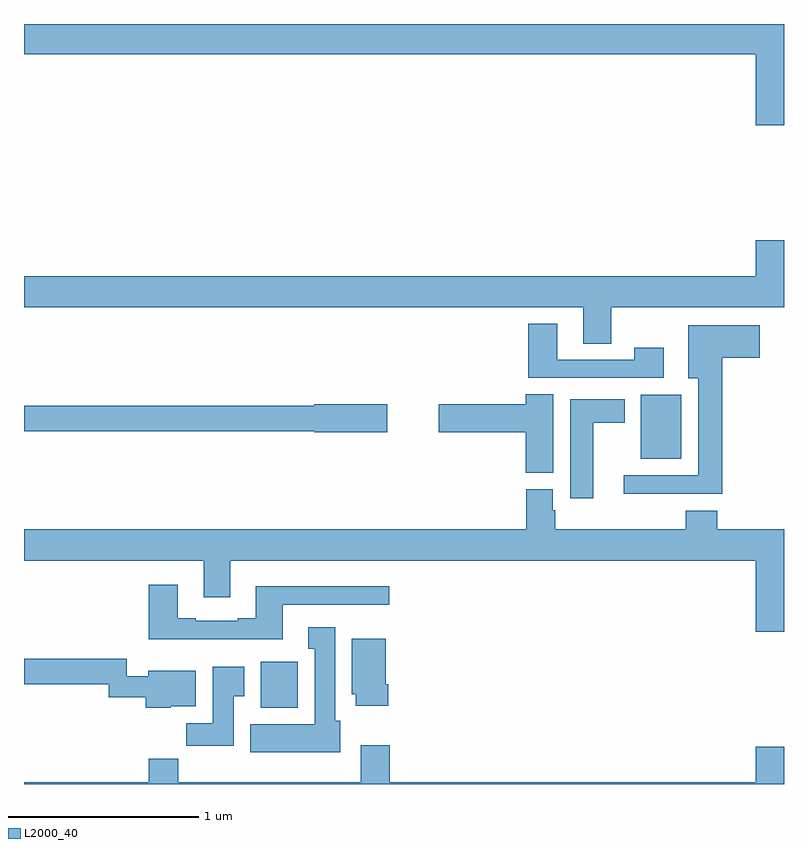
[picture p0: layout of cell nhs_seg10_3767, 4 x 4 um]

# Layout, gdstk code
import gdstk
lib = gdstk.Library(unit=1e-6, precision=1e-09)
def R(c, l, rs):  # rectangles x0, y0, x1, y1
    for r in rs: c.add(gdstk.rectangle(r[:2], r[2:], *l))
def P(c, l, *ps):  # polygons
    for p in ps: c.add(gdstk.Polygon(p, *l))
L2000_40 = (2000, 40)

nhs_seg10_3767 = lib.new_cell('nhs_seg10_3767')
R(nhs_seg10_3767, L2000_40, [(318.245,1272.902,318.442,1273.144), (320.246,1274.213,320.458,1274.548)])
P(nhs_seg10_3767, L2000_40, [(321,1276.5),(317,1276.5),(317,1276.34),(320.852,1276.34),(320.852,1275.966),(321,1275.966)],
  [(321,1275.361),(320.852,1275.361),(320.852,1275.172),(317,1275.172),(317,1275.008),(319.943,1275.008),(319.943,1274.818),(320.091,1274.818),(320.091,1275.008),(321,1275.008)],
  [(320.368,1274.797),(320.212,1274.797),(320.212,1274.733),(319.807,1274.733),(319.807,1274.923),(319.655,1274.923),(319.655,1274.637),(320.368,1274.637)],
  [(320.675,1274.744),(320.872,1274.744),(320.872,1274.914),(320.495,1274.914),(320.495,1274.636),(320.549,1274.636),(320.549,1274.124),(320.157,1274.124),(320.157,1274.027),(320.675,1274.027)],
  [(319.786,1274.552),(319.64,1274.552),(319.64,1274.498),(319.182,1274.498),(319.182,1274.351),(319.64,1274.351),(319.64,1274.137),(319.786,1274.137)],
  [(319.996,1274.402),(320.161,1274.402),(320.161,1274.524),(319.874,1274.524),(319.874,1274.004),(319.996,1274.004)],
  [(318.913,1274.498),(318.528,1274.498),(318.528,1274.492),(317,1274.492),(317,1274.356),(318.528,1274.356),(318.528,1274.351),(318.913,1274.351)],
  [(321,1273.84),(320.648,1273.84),(320.648,1273.939),(320.483,1273.939),(320.483,1273.84),(319.796,1273.84),(319.796,1273.941),(319.783,1273.941),(319.783,1274.052),(319.643,1274.052),(319.643,1273.84),(317,1273.84),(317,1273.676),(317.945,1273.676),(317.945,1273.482),(318.085,1273.482),(318.085,1273.676),(320.852,1273.676),(320.852,1273.302),(321,1273.302)],
  [(318.361,1273.443),(318.922,1273.443),(318.922,1273.54),(318.221,1273.54),(318.221,1273.372),(318.125,1273.372),(318.125,1273.359),(317.905,1273.359),(317.905,1273.372),(317.809,1273.372),(317.809,1273.549),(317.657,1273.549),(317.657,1273.262),(318.361,1273.262)],
  [(318.664,1272.834),(318.637,1272.834),(318.637,1273.324),(318.497,1273.324),(318.497,1273.211),(318.53,1273.211),(318.53,1272.814),(318.191,1272.814),(318.191,1272.668),(318.664,1272.668)],
  [(318.917,1273.024),(318.904,1273.024),(318.904,1273.264),(318.725,1273.264),(318.725,1272.972),(318.746,1272.972),(318.746,1272.912),(318.917,1272.912)],
  [(317.772,1272.908),(317.905,1272.908),(317.905,1273.096),(317.654,1273.096),(317.654,1273.067),(317.541,1273.067),(317.541,1273.16),(317,1273.16),(317,1273.024),(317.445,1273.024),(317.445,1272.957),(317.642,1272.957),(317.642,1272.902),(317.772,1272.902)],
  [(318.103,1272.961),(318.16,1272.961),(318.16,1273.117),(317.993,1273.117),(317.993,1272.82),(317.854,1272.82),(317.854,1272.702),(318.103,1272.702)],
  [(321,1272.697),(320.852,1272.697),(320.852,1272.508),(318.926,1272.508),(318.926,1272.703),(318.773,1272.703),(318.773,1272.508),(317.813,1272.508),(317.813,1272.632),(317.657,1272.632),(317.657,1272.508),(317,1272.508),(317,1272.5),(321,1272.5)])

lib.write_gds('nhs_seg10_3767.gds')
